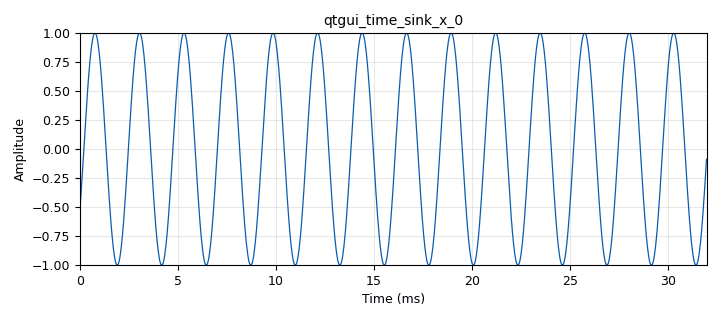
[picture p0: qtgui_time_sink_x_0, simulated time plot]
options:
  parameters:
    author: devone
    generate_options: qt_gui
    id: play_440hz
    output_language: python
  states: {}

blocks:
- name: freq_slider
  id: variable_qtgui_range
  parameters:
    orient: Qt.Horizontal
    start: '100'
    step: '1'
    stop: '600'
    value: '440'
  states: {}
- name: samp_rate
  id: variable
  parameters:
    value: '32000'
  states: {}
- name: analog_sig_source_x_0
  id: analog_sig_source_x
  parameters:
    amp: '1'
    freq: freq_slider
    offset: '0'
    phase: '0'
    samp_rate: samp_rate
    type: float
    waveform: analog.GR_SIN_WAVE
  states: {}
- name: audio_sink_0
  id: audio_sink
  parameters:
    samp_rate: samp_rate
  states: {}
- name: qtgui_time_sink_x_0
  id: qtgui_time_sink_x
  parameters:
    size: '1024'
    srate: samp_rate
    type: float
  states: {}

connections:
- [analog_sig_source_x_0, '0', audio_sink_0, '0']
- [analog_sig_source_x_0, '0', qtgui_time_sink_x_0, '0']

metadata:
  file_format: 1
